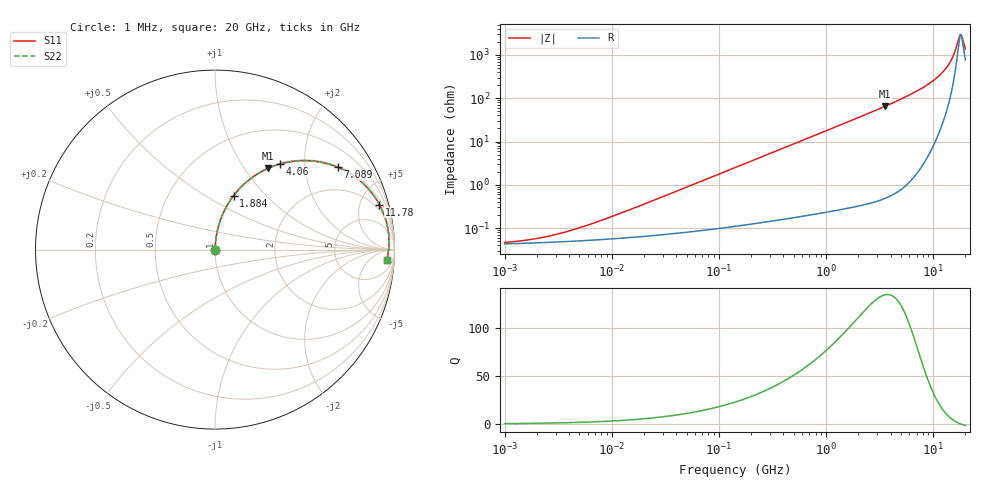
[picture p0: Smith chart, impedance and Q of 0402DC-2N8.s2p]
# MHz  S  MA  R  50
!Freq  MagS11  AngS11  MagS21  AngS21  MagS12  AngS12  MagS22  AngS22
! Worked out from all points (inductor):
!   801 points, 1 MHz to 20 GHz, reference 50 ohm
!   read as one part in series: L = 2.8 nH near 9.642 MHz
!   highest Q = 134 at 3.543 GHz (marker M1), where L = 2.91 nH
!   self-resonance near 18.14 GHz
!   S11 on the Smith chart (normalised r, x): 1 MHz: 1.00, +0.00; 1.884 GHz: 1.01, +0.67; 4.06 GHz: 1.01, +1.50; 7.089 GHz: 1.04, +2.95; 11.78 GHz: 1.40, +7.17; 20 GHz: 16, -23
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1  0.0004654 22.2  0.9996 -0.0  0.9996 -0.0  0.0004654 22.2
2.321109  0.0006171 41.4  0.9995 -0.0  0.9995 -0.0  0.0006171 41.4
5.255755  0.001055 61.1  0.9995 -0.1  0.9995 -0.1  0.001055 61.1
27.28302  0.004846 81.6  0.9993 -0.3  0.9993 -0.3  0.004846 81.6
141.6282  0.02491 86.1  0.9986 -1.4  0.9986 -1.4  0.02491 86.1
744.3631  0.1298 81.6  0.9895 -7.5  0.9895 -7.5  0.1298 81.6
1884.193  0.3169 71.0  0.9455 -18.5  0.9455 -18.5  0.3169 71.0
3543.211  0.5422 56.7  0.8362 -32.8  0.8362 -32.8  0.5422 56.7
3864.044  0.5782 54.2  0.8116 -35.3  0.8116 -35.3  0.5782 54.2
4060.258  0.5991 52.8  0.7962 -36.8  0.7962 -36.8  0.5991 52.8
5398.147  0.7187 43.6  0.6891 -45.9  0.6891 -45.9  0.7187 43.6
7088.559  0.8228 33.9  0.5581 -55.4  0.5581 -55.4  0.8228 33.9
9424.299  0.9071 23.5  0.3984 -65.1  0.3984 -65.1  0.9071 23.5
11777.44  0.9498 15.3  0.2644 -71.5  0.2644 -71.5  0.9498 15.3
13329.98  0.9637 10.8  0.1889 -73.6  0.1889 -73.6  0.9637 10.8
14718.13  0.9697 7.3  0.129 -72.8  0.129 -72.8  0.9697 7.3
15658.2  0.9712 5.1  0.09258 -69.3  0.09258 -69.3  0.9712 5.1
17288.8  0.9697 1.7  0.04161 -42.5  0.04161 -42.5  0.9697 1.7
17722.32  0.9687 0.8  0.03426 -23.4  0.03426 -23.4  0.9687 0.8
18166.71  0.9673 -0.0  0.03271 1.4  0.03271 1.4  0.9673 -0.0
18622.25  0.9657 -0.9  0.03762 23.7  0.03762 23.7  0.9657 -0.9
20000  0.9594 -3.3  0.06982 52.8  0.06982 52.8  0.9594 -3.3
